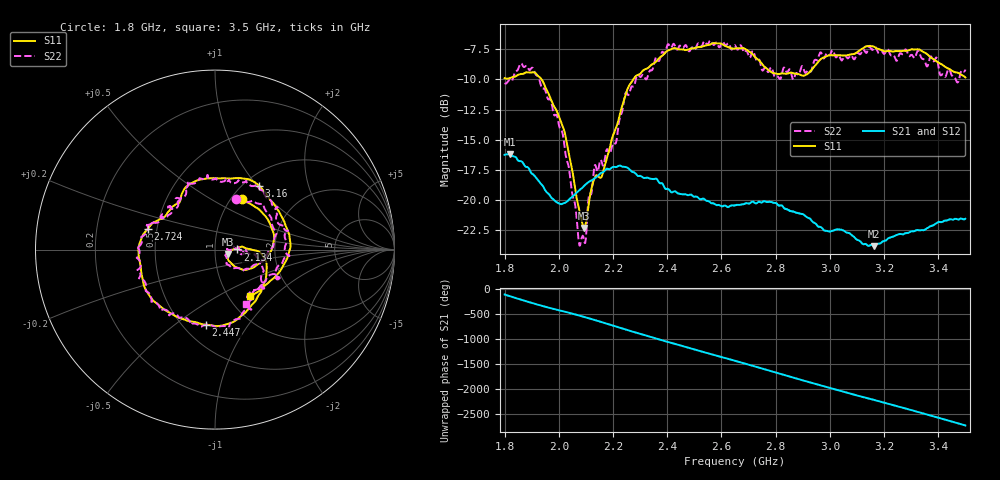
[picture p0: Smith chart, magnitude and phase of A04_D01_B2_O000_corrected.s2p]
! Created with skrf 1.9.0 (http://scikit-rf.org).
# Hz S RI R 50.0
!freq ReS11 ImS11 ReS21 ImS21 ReS12 ImS12 ReS22 ImS22
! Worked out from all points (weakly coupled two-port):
!   1601 points, 1.8 GHz to 3.5 GHz, reference 50 ohm
!   highest |S21| = -16.19 dB at 1.818 GHz (marker M1); lowest = -23.8 dB at 3.163 GHz (marker M2)
!   lowest |S11| = -22.3 dB at 2.093 GHz (marker M3), VSWR 1.17, Z = 57.8 - j2.86 ohm
!   |S11| at or under -10 dB: 1.936 GHz to 2.275 GHz (338.1 MHz wide, 16.1 % of centre)
!   |S22| runs from -23.8 to -6.8 dB; largest |S21 - S12| = 0.0031
!   S11 on the Smith chart (normalised r, x): 1.8 GHz: 1.13, +0.71; 2.134 GHz: 1.28, +0.00; 2.447 GHz: 0.64, -0.65; 2.724 GHz: 0.45, +0.12; 3.16 GHz: 1.17, +1.03; 3.5 GHz: 1.25, -0.72
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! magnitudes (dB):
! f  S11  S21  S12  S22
! 1.8 GHz  -9.9  -16.2  -16.2  -10.3
! 1.818 GHz  -9.9  -16.2  -16.2  -10.1
! 1.902 GHz  -9.4  -17.8  -17.8  -9.0
! 1.969 GHz  -11.5  -19.7  -19.7  -11.7
! 2.021 GHz  -14.3  -20.2  -20.2  -15.6
! 2.084 GHz  -21.6  -19.0  -19.0  -23.2
! 2.093 GHz  -22.3  -18.8  -18.9  -23.3
! 2.134 GHz  -18.1  -18.2  -18.2  -17.1
! 2.16 GHz  -17.9  -17.7  -17.6  -17.0
! 2.208 GHz  -14.2  -17.3  -17.2  -15.3
! 2.26 GHz  -10.5  -17.5  -17.5  -11.1
! 2.367 GHz  -8.3  -18.5  -18.4  -8.5
! 2.447 GHz  -7.5  -19.5  -19.5  -7.2
! 2.65 GHz  -7.4  -20.4  -20.4  -7.2
! 2.724 GHz  -8.1  -20.3  -20.2  -8.1
! 2.81 GHz  -9.5  -20.4  -20.4  -9.8
! 2.934 GHz  -9.2  -21.7  -21.7  -9.2
! 3.16 GHz  -7.3  -23.8  -23.7  -7.5
! 3.163 GHz  -7.3  -23.8  -23.8  -7.4
! 3.217 GHz  -7.6  -23.1  -23.1  -7.6
! 3.468 GHz  -9.4  -21.6  -21.6  -10.2
! 3.5 GHz  -9.8  -21.5  -21.6  -9.2
